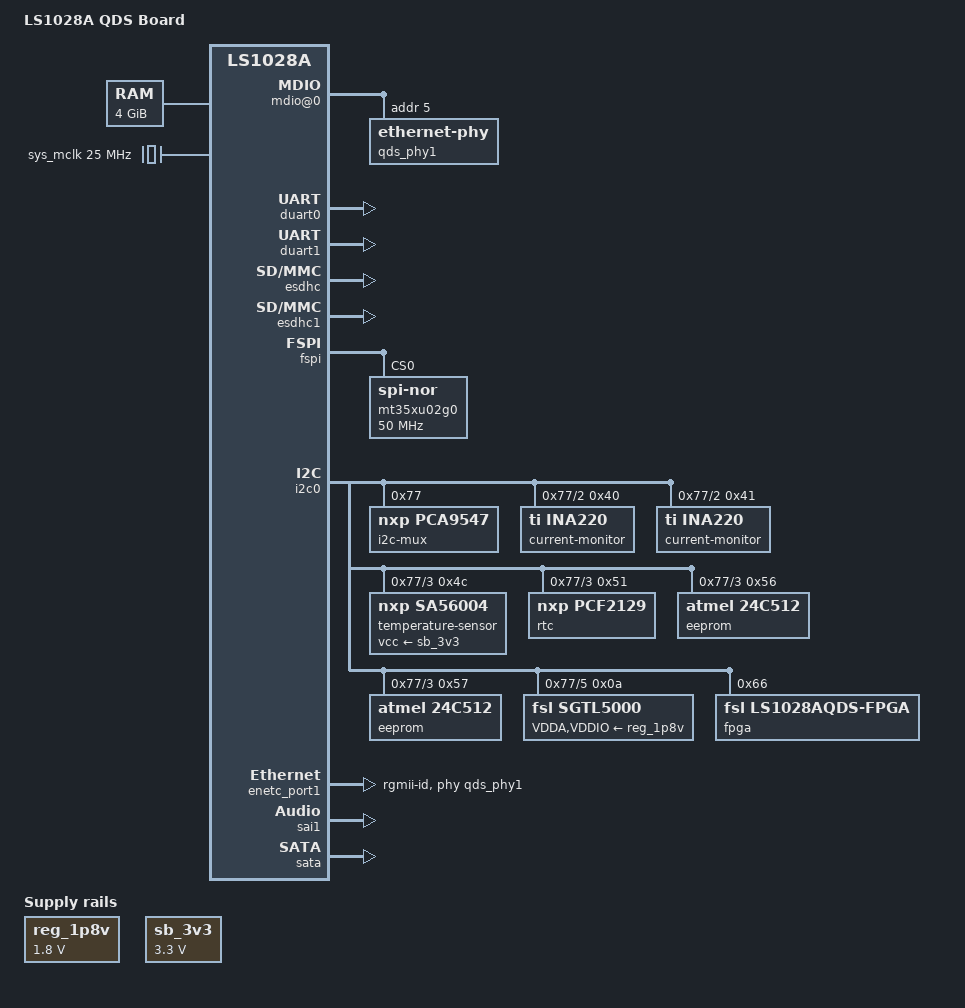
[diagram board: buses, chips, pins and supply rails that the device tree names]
// SPDX-License-Identifier: (GPL-2.0+ OR MIT)
/*
 * Device Tree file for NXP LS1028A QDS Board.
 *
 * Copyright 2018 NXP
 *
 * Harninder Rai <harninder.rai@nxp.com>
 *
 */

/dts-v1/;

#include "fsl-ls1028a.dtsi"

/ {
	model = "LS1028A QDS Board";
	compatible = "fsl,ls1028a-qds", "fsl,ls1028a";

	aliases {
		crypto = &crypto;
		gpio0 = &gpio1;
		gpio1 = &gpio2;
		gpio2 = &gpio3;
		serial0 = &duart0;
		serial1 = &duart1;
	};

	chosen {
		stdout-path = "serial0:115200n8";
	};

	memory@80000000 {
		device_type = "memory";
		reg = <0x0 0x80000000 0x1 0x00000000>;
	};

	sys_mclk: clock-mclk {
		compatible = "fixed-clock";
		#clock-cells = <0>;
		clock-frequency = <25000000>;
	};

	reg_1p8v: regulator-1p8v {
		compatible = "regulator-fixed";
		regulator-name = "1P8V";
		regulator-min-microvolt = <1800000>;
		regulator-max-microvolt = <1800000>;
		regulator-always-on;
	};

	sb_3v3: regulator-sb3v3 {
		compatible = "regulator-fixed";
		regulator-name = "3v3_vbus";
		regulator-min-microvolt = <3300000>;
		regulator-max-microvolt = <3300000>;
		regulator-boot-on;
		regulator-always-on;
	};

	sound {
		compatible = "simple-audio-card";
		simple-audio-card,format = "i2s";
		simple-audio-card,widgets =
			"Microphone", "Microphone Jack",
			"Headphone", "Headphone Jack",
			"Speaker", "Speaker Ext",
			"Line", "Line In Jack";
		simple-audio-card,routing =
			"MIC_IN", "Microphone Jack",
			"Microphone Jack", "Mic Bias",
			"LINE_IN", "Line In Jack",
			"Headphone Jack", "HP_OUT",
			"Speaker Ext", "LINE_OUT";

		simple-audio-card,cpu {
			sound-dai = <&sai1>;
			frame-master;
			bitclock-master;
		};

		simple-audio-card,codec {
			sound-dai = <&sgtl5000>;
			frame-master;
			bitclock-master;
			system-clock-frequency = <25000000>;
		};
	};

	mdio-mux {
		compatible = "mdio-mux-multiplexer";
		mux-controls = <&mux 0>;
		mdio-parent-bus = <&enetc_mdio_pf3>;
		#address-cells=<1>;
		#size-cells = <0>;

		/* on-board RGMII PHY */
		mdio@0 {
			#address-cells = <1>;
			#size-cells = <0>;
			reg = <0>;

			qds_phy1: ethernet-phy@5 {
				/* Atheros 8035 */
				reg = <5>;
			};
		};
	};
};

&duart0 {
	status = "okay";
};

&duart1 {
	status = "okay";
};

&esdhc {
	status = "okay";
};

&esdhc1 {
	status = "okay";
};

&fspi {
	status = "okay";

	mt35xu02g0: flash@0 {
		compatible = "jedec,spi-nor";
		#address-cells = <1>;
		#size-cells = <1>;
		spi-max-frequency = <50000000>;
		/* The following setting enables 1-1-8 (CMD-ADDR-DATA) mode */
		spi-rx-bus-width = <8>; /* 8 SPI Rx lines */
		spi-tx-bus-width = <1>; /* 1 SPI Tx line */
		reg = <0>;
	};
};

&i2c0 {
	status = "okay";

	i2c-mux@77 {
		compatible = "nxp,pca9547";
		reg = <0x77>;
		#address-cells = <1>;
		#size-cells = <0>;

		i2c@2 {
			#address-cells = <1>;
			#size-cells = <0>;
			reg = <0x2>;

			current-monitor@40 {
				compatible = "ti,ina220";
				reg = <0x40>;
				shunt-resistor = <1000>;
			};

			current-monitor@41 {
				compatible = "ti,ina220";
				reg = <0x41>;
				shunt-resistor = <1000>;
			};
		};

		i2c@3 {
			#address-cells = <1>;
			#size-cells = <0>;
			reg = <0x3>;

			temperature-sensor@4c {
				compatible = "nxp,sa56004";
				reg = <0x4c>;
				vcc-supply = <&sb_3v3>;
			};

			rtc@51 {
				compatible = "nxp,pcf2129";
				reg = <0x51>;
			};

			eeprom@56 {
				compatible = "atmel,24c512";
				reg = <0x56>;
			};

			eeprom@57 {
				compatible = "atmel,24c512";
				reg = <0x57>;
			};
		};

		i2c@5 {
			#address-cells = <1>;
			#size-cells = <0>;
			reg = <0x5>;

			sgtl5000: audio-codec@a {
				#sound-dai-cells = <0>;
				compatible = "fsl,sgtl5000";
				reg = <0xa>;
				VDDA-supply = <&reg_1p8v>;
				VDDIO-supply = <&reg_1p8v>;
				clocks = <&sys_mclk>;
			};
		};
	};

	fpga@66 {
		compatible = "fsl,ls1028aqds-fpga", "fsl,fpga-qixis-i2c",
			     "simple-mfd";
		reg = <0x66>;

		mux: mux-controller {
			compatible = "reg-mux";
			#mux-control-cells = <1>;
			mux-reg-masks = <0x54 0xf0>; /* 0: reg 0x54, bits 7:4 */
		};
	};

};

&enetc_port1 {
	phy-handle = <&qds_phy1>;
	phy-connection-type = "rgmii-id";
};

&sai1 {
	status = "okay";
};

&sata {
	status = "okay";
};
